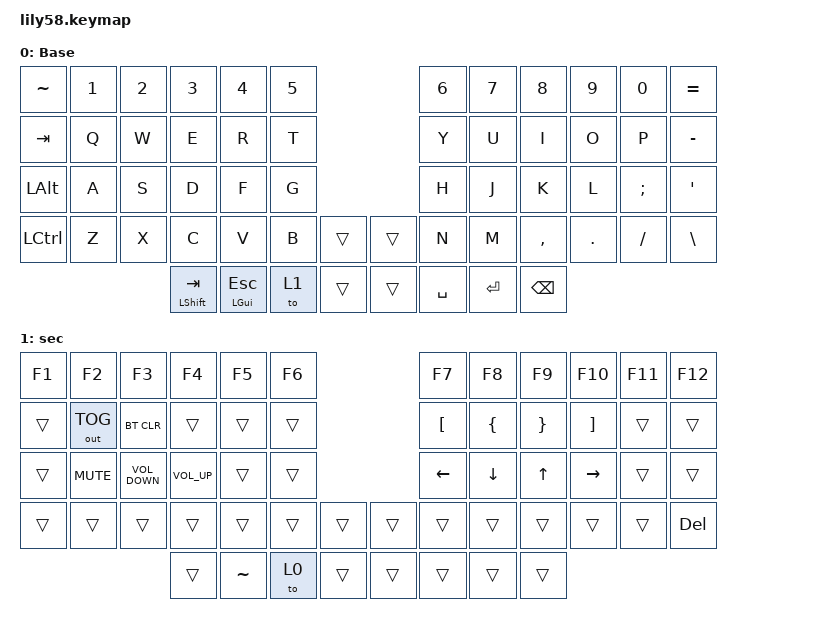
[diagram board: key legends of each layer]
/*
 * Copyright (c) 2020 The ZMK Contributors
 *
 * SPDX-License-Identifier: MIT
 */

#include <behaviors.dtsi>
#include <dt-bindings/zmk/bt.h>
#include <dt-bindings/zmk/keys.h>
#include <dt-bindings/zmk/outputs.h>

/ {
    combos {
        compatible = "zmk,combos";

        BT_1 {
            bindings = <&bt BT_SEL 0>;
            key-positions = <51 1>;
        };

        BT_2 {
            bindings = <&bt BT_SEL 1>;
            key-positions = <51 2>;
        };

        BT_3 {
            bindings = <&bt BT_SEL 2>;
            key-positions = <51 3>;
        };

        BT_4 {
            bindings = <&bt BT_SEL 3>;
            key-positions = <51 4>;
        };

        BT_5 {
            bindings = <&bt BT_SEL 4>;
            key-positions = <51 5>;
        };
    };

    keymap {
        compatible = "zmk,keymap";

        Base {
            // ------------------------------------------------------------------------------------------------------------
            // |  ESC  |  1  |  2  |  3   |  4   |  5   |                   |  6   |  7    |  8    |  9   |   0   |   `   |
            // |  TAB  |  Q  |  W  |  E   |  R   |  T   |                   |  Y   |  U    |  I    |  O   |   P   |   -   |
            // |  CTRL |  A  |  S  |  D   |  F   |  G   |                   |  H   |  J    |  K    |  L   |   ;   |   '   |
            // | SHIFT |  Z  |  X  |  C   |  V   |  B   |   "["  |  |  "]"  |  N   |  M    |  ,    |  .   |   /   | SHIFT |
            //                     | ALT  | GUI  | LOWER|  SPACE |  | ENTER | RAISE| BSPC  | GUI   |

            display-name = "Base";
            bindings = <
&kp TILDE     &kp N1  &kp N2  &kp N3              &kp N4            &kp N5                    &kp N6     &kp N7     &kp N8         &kp N9   &kp N0     &kp EQUAL
&kp TAB       &kp Q   &kp W   &kp E               &kp R             &kp T                     &kp Y      &kp U      &kp I          &kp O    &kp P      &kp MINUS
&kp LEFT_ALT  &kp A   &kp S   &kp D               &kp F             &kp G                     &kp H      &kp J      &kp K          &kp L    &kp SEMI   &kp SQT
&kp LCTRL     &kp Z   &kp X   &kp C               &kp V             &kp B   &trans    &trans  &kp N      &kp M      &kp COMMA      &kp DOT  &kp SLASH  &kp BACKSLASH
                              &mt LEFT_SHIFT TAB  &mt LEFT_GUI ESC  &to 1   &trans    &trans  &kp SPACE  &kp ENTER  &kp BACKSPACE
            >;
        };

        sec {
            bindings = <
&kp F1  &kp F2        &kp F3             &kp F4           &kp F5     &kp F6                    &kp F7            &kp F8          &kp F9           &kp F10            &kp F11  &kp F12
&trans  &out OUT_TOG  &bt BT_CLR         &trans           &trans     &trans                    &kp LEFT_BRACKET  &kp LEFT_BRACE  &kp RIGHT_BRACE  &kp RIGHT_BRACKET  &trans   &trans
&trans  &kp K_MUTE    &kp C_VOLUME_DOWN  &kp C_VOLUME_UP  &trans     &trans                    &kp LEFT          &kp DOWN_ARROW  &kp UP_ARROW     &kp RIGHT          &trans   &trans
&trans  &trans        &trans             &trans           &trans     &trans  &trans    &trans  &trans            &trans          &trans           &trans             &trans   &kp DELETE
                                         &trans           &kp TILDE  &to 0   &trans    &trans  &trans            &trans          &trans
            >;
        };
    };
};
